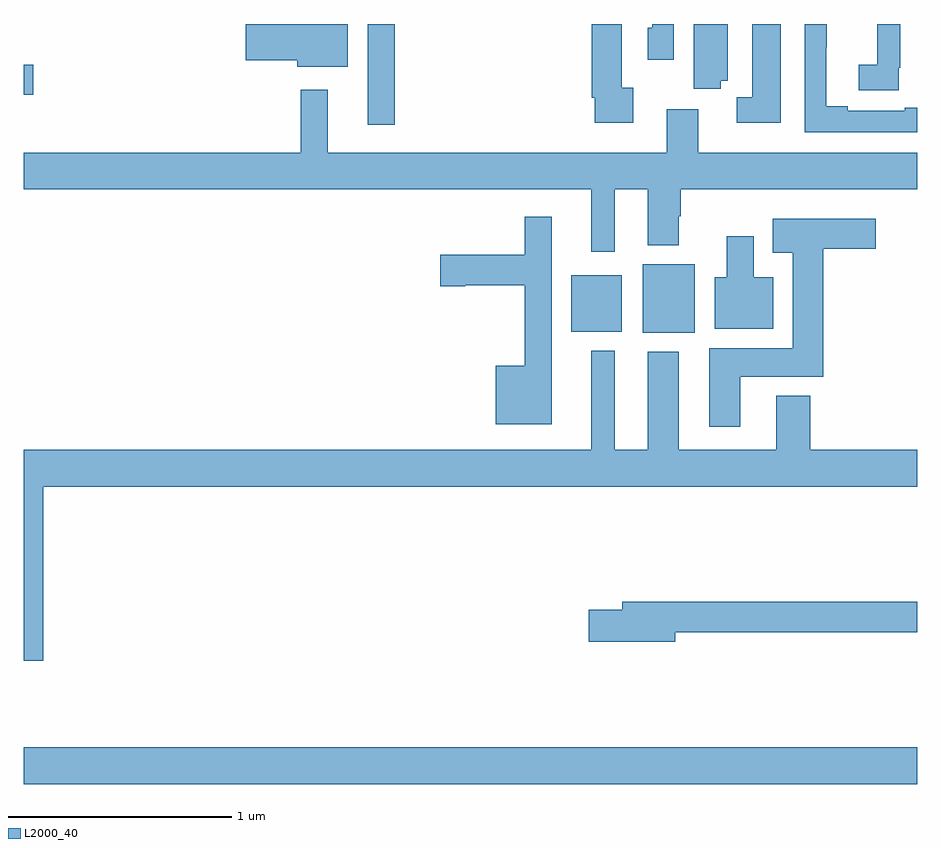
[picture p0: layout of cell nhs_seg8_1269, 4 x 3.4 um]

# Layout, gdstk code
import gdstk
lib = gdstk.Library(unit=1e-6, precision=1e-09)
def R(c, l, rs):  # rectangles x0, y0, x1, y1
    for r in rs: c.add(gdstk.rectangle(r[:2], r[2:], *l))
def P(c, l, *ps):  # polygons
    for p in ps: c.add(gdstk.Polygon(p, *l))
L2000_40 = (2000, 40)

nhs_seg8_1269 = lib.new_cell('nhs_seg8_1269')
R(nhs_seg8_1269, L2000_40, [(191,1120.496,195,1120.66), (193.772,1122.518,194.005,1122.823), (193.451,1122.521,193.678,1122.775), (192.539,1123.449,192.661,1123.9), (191,1123.583,191.041,1123.718)])
P(nhs_seg8_1269, L2000_40, [(195,1123.526),(194.945,1123.526),(194.945,1123.512),(194.689,1123.512),(194.689,1123.532),(194.593,1123.532),(194.593,1123.795),(194.595,1123.795),(194.595,1123.9),(194.496,1123.9),(194.496,1123.416),(195,1123.416)],
  [(192.451,1123.9),(191.994,1123.9),(191.994,1123.738),(192.224,1123.738),(192.224,1123.709),(192.451,1123.709)],
  [(194.12,1123.646),(194.152,1123.646),(194.152,1123.9),(194,1123.9),(194,1123.609),(194.12,1123.609)],
  [(193.911,1123.9),(193.815,1123.9),(193.815,1123.884),(193.794,1123.884),(193.794,1123.74),(193.911,1123.74)],
  [(194.918,1123.705),(194.924,1123.705),(194.924,1123.9),(194.821,1123.9),(194.821,1123.718),(194.739,1123.718),(194.739,1123.603),(194.918,1123.603)],
  [(194.389,1123.9),(194.261,1123.9),(194.261,1123.572),(194.193,1123.572),(194.193,1123.457),(194.389,1123.457)],
  [(193.729,1123.614),(193.678,1123.614),(193.678,1123.9),(193.544,1123.9),(193.544,1123.57),(193.556,1123.57),(193.556,1123.458),(193.729,1123.458)],
  [(193.645,1123.16),(193.793,1123.16),(193.793,1122.908),(193.933,1122.908),(193.933,1123.04),(193.941,1123.04),(193.941,1123.16),(195,1123.16),(195,1123.324),(194.02,1123.324),(194.02,1123.519),(193.88,1123.519),(193.88,1123.324),(192.361,1123.324),(192.361,1123.606),(192.24,1123.606),(192.24,1123.324),(191,1123.324),(191,1123.16),(193.541,1123.16),(193.541,1122.879),(193.645,1122.879)],
  [(193.363,1123.036),(193.242,1123.036),(193.242,1122.867),(192.864,1122.867),(192.864,1122.725),(192.976,1122.725),(192.976,1122.73),(193.242,1122.73),(193.242,1122.37),(193.112,1122.37),(193.112,1122.107),(193.363,1122.107)],
  [(194.209,1122.32),(194.579,1122.32),(194.579,1122.893),(194.815,1122.893),(194.815,1123.027),(194.354,1123.027),(194.354,1122.875),(194.444,1122.875),(194.444,1122.448),(194.069,1122.448),(194.069,1122.096),(194.209,1122.096)],
  [(194.356,1122.766),(194.269,1122.766),(194.269,1122.949),(194.147,1122.949),(194.147,1122.766),(194.093,1122.766),(194.093,1122.536),(194.356,1122.536)],
  [(191.087,1121.828),(195,1121.828),(195,1121.992),(194.522,1121.992),(194.522,1122.235),(194.369,1122.235),(194.369,1121.992),(193.933,1121.992),(193.933,1122.433),(193.793,1122.433),(193.793,1121.992),(193.645,1121.992),(193.645,1122.436),(193.541,1122.436),(193.541,1121.992),(191,1121.992),(191,1121.049),(191.087,1121.049)],
  [(193.918,1121.176),(195,1121.176),(195,1121.312),(193.679,1121.312),(193.679,1121.276),(193.53,1121.276),(193.53,1121.134),(193.918,1121.134)])

lib.write_gds('nhs_seg8_1269.gds')
